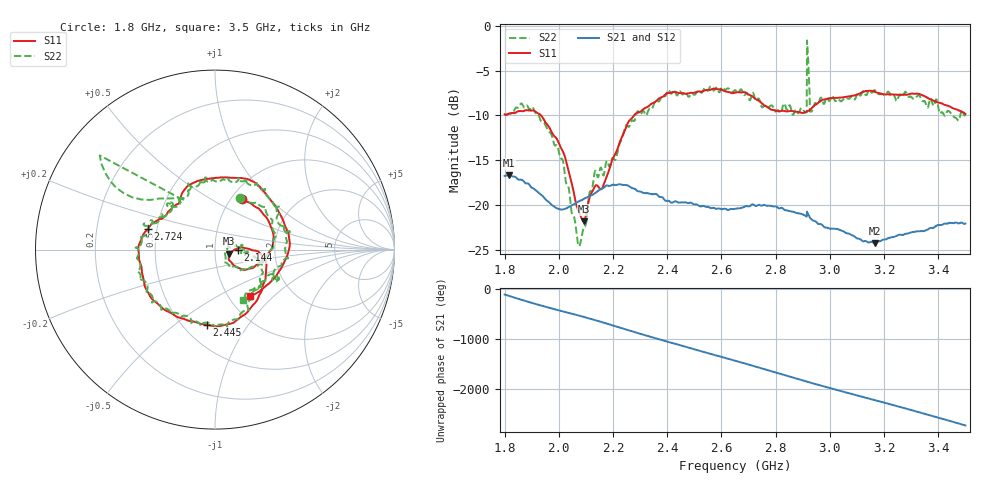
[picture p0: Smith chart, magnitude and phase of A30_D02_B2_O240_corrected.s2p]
! Created with skrf 1.9.0 (http://scikit-rf.org).
# Hz S RI R 50.0
!freq ReS11 ImS11 ReS21 ImS21 ReS12 ImS12 ReS22 ImS22
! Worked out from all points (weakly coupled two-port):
!   1601 points, 1.8 GHz to 3.5 GHz, reference 50 ohm
!   highest |S21| = -16.69 dB at 1.816 GHz (marker M1); lowest = -24.2 dB at 3.165 GHz (marker M2)
!   lowest |S11| = -21.8 dB at 2.091 GHz (marker M3), VSWR 1.18, Z = 58.3 - j2.76 ohm
!   |S11| at or under -10 dB: 1.934 GHz to 2.278 GHz (343.3 MHz wide, 16.3 % of centre)
!   |S22| runs from -24.6 to -1.6 dB; largest |S21 - S12| = 0.0025
!   S11 on the Smith chart (normalised r, x): 1.8 GHz: 1.12, +0.71; 2.144 GHz: 1.29, -0.01; 2.445 GHz: 0.65, -0.66; 2.724 GHz: 0.44, +0.12; 3.5 GHz: 1.25, -0.72
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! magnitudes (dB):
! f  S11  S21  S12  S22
! 1.8 GHz  -9.9  -16.8  -16.8  -9.9
! 1.816 GHz  -9.8  -16.7  -16.7  -9.8
! 1.902 GHz  -9.5  -18.1  -18.1  -9.0
! 1.968 GHz  -11.5  -19.8  -19.9  -11.9
! 2.014 GHz  -14.0  -20.5  -20.5  -14.9
! 2.071 GHz  -20.5  -19.6  -19.7  -24.4
! 2.084 GHz  -21.5  -19.5  -19.4  -23.6
! 2.091 GHz  -21.8  -19.3  -19.4  -22.6
! 2.144 GHz  -17.9  -18.5  -18.4  -16.9
! 2.209 GHz  -14.3  -17.8  -17.7  -14.9
! 2.26 GHz  -10.6  -17.9  -17.9  -11.2
! 2.367 GHz  -8.2  -19.0  -18.9  -8.4
! 2.445 GHz  -7.5  -19.7  -19.7  -7.3
! 2.65 GHz  -7.5  -20.4  -20.4  -7.2
! 2.724 GHz  -8.1  -20.1  -20.1  -8.2
! 2.906 GHz  -9.7  -21.1  -21.1  -9.6
! 2.915 GHz  -9.6  -21.3  -21.3  -9.7
! 2.924 GHz  -9.4  -21.3  -21.2  -6.9
! 2.934 GHz  -9.2  -21.7  -21.6  -9.5
! 3.165 GHz  -7.4  -24.2  -24.2  -7.2
! 3.217 GHz  -7.6  -23.7  -23.7  -7.4
! 3.5 GHz  -9.8  -22.1  -22.1  -9.8
